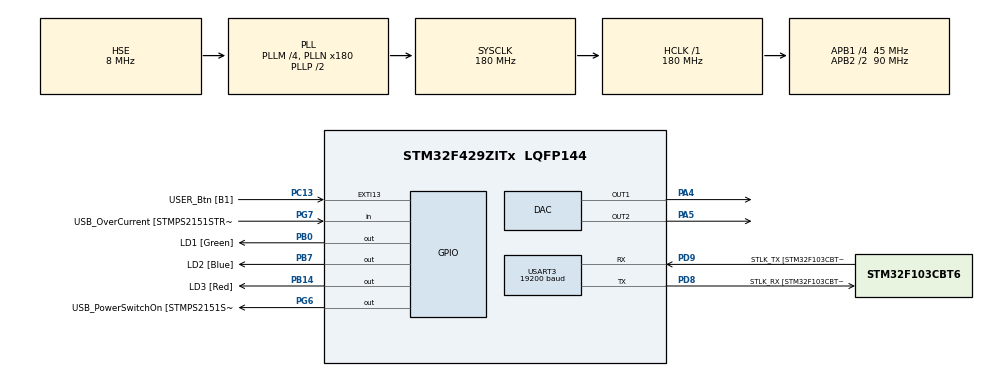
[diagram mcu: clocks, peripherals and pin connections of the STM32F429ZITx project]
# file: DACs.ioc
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DAC.DAC_Trigger=DAC_TRIGGER_T4_TRGO
DAC.DAC_Trigger2=DAC_TRIGGER_T2_TRGO
Dma.DAC1.1.Direction=DMA_MEMORY_TO_PERIPH
Dma.DAC1.1.FIFOMode=DMA_FIFOMODE_DISABLE
Dma.DAC1.1.Instance=DMA1_Stream5
Dma.DAC1.1.MemDataAlignment=DMA_MDATAALIGN_WORD
Dma.DAC1.1.MemInc=DMA_MINC_ENABLE
Dma.DAC1.1.Mode=DMA_CIRCULAR
Dma.DAC1.1.PeriphDataAlignment=DMA_PDATAALIGN_WORD
Dma.DAC1.1.PeriphInc=DMA_PINC_DISABLE
Dma.DAC1.1.Priority=DMA_PRIORITY_VERY_HIGH
Dma.DAC2.0.Direction=DMA_MEMORY_TO_PERIPH
Dma.DAC2.0.FIFOMode=DMA_FIFOMODE_DISABLE
Dma.DAC2.0.Instance=DMA1_Stream6
Dma.DAC2.0.MemDataAlignment=DMA_MDATAALIGN_WORD
Dma.DAC2.0.MemInc=DMA_MINC_ENABLE
Dma.DAC2.0.Mode=DMA_CIRCULAR
Dma.DAC2.0.PeriphDataAlignment=DMA_PDATAALIGN_WORD
Dma.DAC2.0.PeriphInc=DMA_PINC_DISABLE
Dma.DAC2.0.Priority=DMA_PRIORITY_HIGH
Dma.Request0=DAC2
Dma.Request1=DAC1
Mcu.Family=STM32F4
Mcu.Name=STM32F429ZITx
Mcu.Package=LQFP144
NVIC.DMA1_Stream5_IRQn=true\:0\:0\:false\:false\:true\:false\:true\:true
NVIC.DMA1_Stream6_IRQn=true\:0\:0\:false\:false\:true\:false\:true\:true
NVIC.PriorityGroup=NVIC_PRIORITYGROUP_4
PA1.GPIO_Label=RMII_REF_CLK [LAN8742A-CZ-TR_REFCLK0]
PA1.Signal=ETH_REF_CLK
PA10.GPIO_Label=USB_ID
PA10.Signal=USB_OTG_FS_ID
PA11.GPIO_Label=USB_DM
PA11.Signal=USB_OTG_FS_DM
PA12.GPIO_Label=USB_DP
PA12.Signal=USB_OTG_FS_DP
PA13.GPIO_Label=TMS
PA13.Mode=Serial_Wire
PA13.Signal=SYS_JTMS-SWDIO
PA14.GPIO_Label=TCK
PA14.Mode=Serial_Wire
PA14.Signal=SYS_JTCK-SWCLK
PA2.GPIO_Label=RMII_MDIO [LAN8742A-CZ-TR_MDIO]
PA2.Signal=ETH_MDIO
PA4.Signal=COMP_DAC1_group
PA5.Signal=COMP_DAC2_group
PA7.GPIO_Label=RMII_CRS_DV [LAN8742A-CZ-TR_CRS_DV]
PA7.Signal=ETH_CRS_DV
PA8.GPIO_Label=USB_SOF [TP1]
PA8.Signal=USB_OTG_FS_SOF
PA9.GPIO_Label=USB_VBUS
PA9.Signal=USB_OTG_FS_VBUS
PB0.GPIO_Label=LD1 [Green]
PB0.Signal=GPIO_Output
PB13.GPIO_Label=RMII_TXD1 [LAN8742A-CZ-TR_TXD1]
PB13.Signal=ETH_TXD1
PB14.GPIO_Label=LD3 [Red]
PB14.Signal=GPIO_Output
PB7.GPIO_Label=LD2 [Blue]
PB7.Signal=GPIO_Output
PC1.GPIO_Label=RMII_MDC [LAN8742A-CZ-TR_MDC]
PC1.Signal=ETH_MDC
PC13.GPIO_Label=USER_Btn [B1]
PC13.Signal=GPXTI13
PC14/OSC32_IN.Mode=LSE-External-Oscillator
PC14/OSC32_IN.Signal=RCC_OSC32_IN
PC15/OSC32_OUT.Mode=LSE-External-Oscillator
PC15/OSC32_OUT.Signal=RCC_OSC32_OUT
PC4.GPIO_Label=RMII_RXD0 [LAN8742A-CZ-TR_RXD0]
PC4.Signal=ETH_RXD0
PC5.GPIO_Label=RMII_RXD1 [LAN8742A-CZ-TR_RXD1]
PC5.Signal=ETH_RXD1
PD8.GPIO_Label=STLK_RX [STM32F103CBT6_PA3]
PD8.Mode=Asynchronous
PD8.Signal=USART3_TX
PD9.GPIO_Label=STLK_TX [STM32F103CBT6_PA2]
PD9.Mode=Asynchronous
PD9.Signal=USART3_RX
PG11.GPIO_Label=RMII_TX_EN [LAN8742A-CZ-TR_TXEN]
PG11.Signal=ETH_TX_EN
PG13.GPIO_Label=RMII_TXD0 [LAN8742A-CZ-TR_TXD0]
PG13.Signal=ETH_TXD0
PG6.GPIO_Label=USB_PowerSwitchOn [STMPS2151STR_EN]
PG6.Signal=GPIO_Output
PG7.GPIO_Label=USB_OverCurrent [STMPS2151STR_FAULT]
PG7.Signal=GPIO_Input
PH0/OSC_IN.GPIO_Label=MCO [STM32F103CBT6_PA8]
PH0/OSC_IN.Mode=HSE-External-Clock-Source
PH0/OSC_IN.Signal=RCC_OSC_IN
PH1/OSC_OUT.Mode=HSE-External-Clock-Source
PH1/OSC_OUT.Signal=RCC_OSC_OUT
ProjectManager.HeapSize=0x200
ProjectManager.StackSize=0x400
ProjectManager.TargetToolchain=STM32CubeIDE
RCC.48MHZClocksFreq_Value=51428571.428571425
RCC.AHBFreq_Value=180000000
RCC.APB1CLKDivider=RCC_HCLK_DIV4
RCC.APB1Freq_Value=45000000
RCC.APB1TimFreq_Value=90000000
RCC.APB2CLKDivider=RCC_HCLK_DIV2
RCC.APB2Freq_Value=90000000
RCC.APB2TimFreq_Value=180000000
RCC.CortexFreq_Value=180000000
RCC.HCLKFreq_Value=180000000
RCC.HSE_VALUE=8000000
RCC.HSI_VALUE=16000000
RCC.PLLM=4
RCC.PLLMUL=RCC_PLL_MUL9
RCC.PLLN=180
RCC.PLLQ=7
RCC.PLLSourceVirtual=RCC_PLLSOURCE_HSE
RCC.PRESCALERUSB=RCC_USBCLKSOURCE_PLL_DIV1_5
RCC.SYSCLKFreq_VALUE=180000000
RCC.SYSCLKSource=RCC_SYSCLKSOURCE_PLLCLK
RCC.SYSCLKSourceVirtual=RCC_SYSCLKSOURCE_PLLCLK
RCC.USBFreq_Value=48000000
RCC.VCOOutputFreq_Value=360000000
SH.COMP_DAC1_group.0=DAC_OUT1,DAC_OUT1
SH.COMP_DAC2_group.0=DAC_OUT2,DAC_OUT2
TIM2.Period=89
TIM2.TIM_MasterOutputTrigger=TIM_TRGO_UPDATE
TIM2.TIM_MasterSlaveMode=TIM_MASTERSLAVEMODE_ENABLE
TIM4.Period=89
TIM4.Prescaler=1
TIM4.TIM_MasterOutputTrigger=TIM_TRGO_UPDATE
TIM4.TIM_MasterSlaveMode=TIM_MASTERSLAVEMODE_ENABLE
USART3.BaudRate=19200
USART3.VirtualMode=VM_ASYNC
VP_TIM2_VS_ClockSourceINT.Mode=Internal
VP_TIM4_VS_ClockSourceINT.Mode=Internal
board=NUCLEO-F429ZI

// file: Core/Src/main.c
/* USER CODE BEGIN Header */
/**
  ******************************************************************************
  * @file           : main.c
  * @brief          : Main program body
  ******************************************************************************
  * @attention
  *
  * Copyright (c) 2023 STMicroelectronics.
  * All rights reserved.
  *
  * This software is licensed under terms that can be found in the LICENSE file
  * in the root directory of this software component.
  * If no LICENSE file comes with this software, it is provided AS-IS.
  *
  ******************************************************************************
  */
/* USER CODE END Header */
#include "main.h"

/* USER CODE BEGIN Includes */
#include <stdint.h>
#include "API_uart.h"
#include "API_debounce.h"
#include "uHALdac.h"
#include "uSeniales.h"
#include "desarrollo.h"
#include "uGenerador.h"
/*#include "stm32f4xx_hal.h"
#include "stm32f4xx_ll_dac.h"
#include "stm32f4xx_hal_dac.h"*/

/* USER CODE END Includes */

/* USER CODE BEGIN PD */

//#define MUESTRAS1 1000
//#define MUESTRAS2 1100

/* USER CODE END PD */

DAC_HandleTypeDef hdac;
DMA_HandleTypeDef hdma_dac2;
DMA_HandleTypeDef hdma_dac1;

TIM_HandleTypeDef htim2;
TIM_HandleTypeDef htim4;

UART_HandleTypeDef huart3;

/* USER CODE BEGIN PV */
//senial_s SenialDAC1 = {0};
//senial_s SenialDAC2 = {0};
uint32_t Valor_0V [UHAL_DAC_TODOS]  = {2000, 2055};
gen_conf_s GenConfig = {0};
double   Frecuencia = 0;

/* USER CODE END PV */

void SystemClock_Config(void);
static void MX_GPIO_Init(void);
static void MX_DMA_Init(void);
static void MX_USART3_UART_Init(void);
static void MX_DAC_Init(void);
static void MX_TIM2_Init(void);
static void MX_TIM4_Init(void);

int main(void)
{

  /* MCU Configuration--------------------------------------------------------*/

  /* Reset of all peripherals, Initializes the Flash interface and the Systick. */
  HAL_Init();

  /* Configure the system clock */
  SystemClock_Config();

  /* Initialize all configured peripherals */
  MX_GPIO_Init();
  MX_DMA_Init();
  MX_USART3_UART_Init();
  MX_DAC_Init();
  MX_TIM2_Init();
  MX_TIM4_Init();
  /* USER CODE BEGIN 2 */
  // ************************************************************************************

  // Reinicializo UART ------------------------------------------------------------------
  uartInit();			// Esto está duplicado pero no debería molestar.
  	  	  	  	  	  	// Sirve para probar mensaje de inicio.

  uartSendString((uint8_t *) "\n\r\n\r============================================================\n\r");
  uartSendString((uint8_t *) "Ejemplo DAC con salida doble\n\r");
  uartSendString((uint8_t *) "GFC, febrero 2024.\n\r");
  uartSendString((uint8_t *) "============================================================\n\r");
  //uartSendString((uint8_t *) "------------------------------------------------------------\n\r");

  // Inicializo botón de usuario --------------------------------------------------------
  debounceFSM_init();

  // DACs -------------------------------------------------------------------------------
  uGeneradorInicializar ( GENERADORES_TODOS );
  uartSendString((uint8_t *) "SENIAL INICIAL\n\r");
  ImprimirDatos( GENERADOR_1 );
  ImprimirDatos( GENERADOR_2 );
  uGeneradorEncender ( GENERADORES_TODOS );
  uartSendString((uint8_t *) "------------------------------------------------------------\n\r");

  // ------------------------------------------------------------------------------------
  uint8_t SELECTOR = 0;

  // ************************************************************************************
  /* USER CODE END 2 */

  /* Infinite loop */
  /* USER CODE BEGIN WHILE */
  uartSendString((uint8_t *) "Inicio loop... \n\r");
  uartSendString((uint8_t *) "------------------------------------------------------------\n\r");
  //while (1) {}
  while (1)
  {
    /* USER CODE END WHILE */

    /* USER CODE BEGIN 3 */

	debounceFSM_update();

	if (readKeyPush()) {  // Se presionó el botón...

		switch (SELECTOR) {
			case 0:
				// Frecuencia 1 kHz y 2 kHz ---------------------------------------------------------------------------
				Frecuencia = 11000;
				if ( uGeneradorLeerConfiguracion ( GENERADOR_1, &GenConfig )) {
					GenConfig.Frecuencia = Frecuencia;
					GenConfig.Tipo = SENOIDAL;
					GenConfig.Simetria = 0.5;
					if (!uGeneradorConfigurar ( GENERADOR_1, &GenConfig )) uartSendString((uint8_t *) "(Algo no anduvo bien :-(\n\r");
					ImprimirDatos( GENERADOR_1 );
				}
				uartSendString((uint8_t *) "------------------------------------------------------------\n\r");
				break;

			case 1:
				if ( uGeneradorLeerConfiguracion ( GENERADOR_2, &GenConfig )) {
					GenConfig.Frecuencia = Frecuencia*2;
					GenConfig.Tipo = SENOIDAL;
					if (!uGeneradorConfigurar ( GENERADOR_2, &GenConfig )) uartSendString((uint8_t *) "(Algo no anduvo bien :-(\n\r");
					ImprimirDatos( GENERADOR_2 );
				}
				uartSendString((uint8_t *) "------------------------------------------------------------\n\r");
				break;

			case 2:
				// Frecuencia 500 KHz triangular ----------------------------------------------------------------------
				Frecuencia = 5500;
				if ( uGeneradorLeerConfiguracion ( GENERADOR_1, &GenConfig )) {
					GenConfig.Frecuencia = Frecuencia;
					GenConfig.Tipo = TRIANGULAR;
					GenConfig.Simetria = 0.2;
					if (!uGeneradorConfigurar ( GENERADOR_1, &GenConfig )) uartSendString((uint8_t *) "(Algo no anduvo bien :-(\n\r");
					ImprimirDatos( GENERADOR_1 );
				}
				uartSendString((uint8_t *) "------------------------------------------------------------\n\r");
				break;

			case 3:
				if ( uGeneradorLeerConfiguracion ( GENERADOR_2, &GenConfig )) {
					GenConfig.Frecuencia = Frecuencia;
					GenConfig.Tipo = TRIANGULAR;
					if (!uGeneradorConfigurar ( GENERADOR_2, &GenConfig )) uartSendString((uint8_t *) "(Algo no anduvo bien :-(\n\r");
					ImprimirDatos( GENERADOR_2 );
				}
			    uartSendString((uint8_t *) "------------------------------------------------------------\n\r");
			    break;

			case 4:
				// Valor medio ---------------------------------------------------------------------------
			    uartSendString((uint8_t *) "(!) Valor 0 V en salida 1 \n\r");
			    GenConfig.Acople = CERO;
			    //GenConfig.Ciclo = 0.5;
				if (!uGeneradorConfigurar ( GENERADOR_1, &GenConfig )) uartSendString((uint8_t *) "(Algo no anduvo bien :-(\n\r");
			    //uGeneradorConfigurar ( GENERADOR_1, &GenConfig );
			    //ImprimirDatos( GENERADOR_1 );
			    uartSendString((uint8_t *) "------------------------------------------------------------\n\r");
			    break;

			case 5:
				if (!uGeneradorConfigurar ( GENERADOR_2, &GenConfig )) uartSendString((uint8_t *) "(Algo no anduvo bien :-(\n\r");
				uartSendString((uint8_t *) "(!) Valor 0 V en salida 2 \n\r");
				//uGeneradorConfigurar ( GENERADOR_2, &GenConfig );
			    //ImprimirDatos( GENERADOR_2 );
			    uartSendString((uint8_t *) "------------------------------------------------------------\n\r");
			    break;

			case 6:
				// Apagamos
				uGeneradorApagar( GENERADORES_TODOS);
			    uartSendString((uint8_t *) "Apagamos los generadores...\n\r");
				uartSendString((uint8_t *) "------------------------------------------------------------\n\r");
				break;

			case 7:
				// Vuelve acople DC ---------------------------------------------------------------------
				GenConfig.Acople = DC;
				GenConfig.Tipo = CUADRADA;
				GenConfig.Simetria = 0.2;
			    //uGeneradorConfigurar ( GENERADORES_TODOS, &GenConfig );
				if (!uGeneradorConfigurar ( GENERADORES_TODOS, &GenConfig )) uartSendString((uint8_t *) "(Algo no anduvo bien :-(\n\r");
				uGeneradorEncender (GENERADORES_TODOS);
			    ImprimirDatos( GENERADOR_1 );
			    ImprimirDatos( GENERADOR_2 );
			    uartSendString((uint8_t *) "------------------------------------------------------------\n\r");
			    break;

			default:
				uartSendString((uint8_t *) "---ERROR------------------------------------------------------\n\r");
		}

		// Aumento próxima selección
		SELECTOR++;
		if (SELECTOR>7) SELECTOR = 0;
    }

  // Acá podría hacer otras cosas mientras tanto...

  }
  /* USER CODE END 3 */

}

void SystemClock_Config(void)
{
  RCC_OscInitTypeDef RCC_OscInitStruct = {0};
  RCC_ClkInitTypeDef RCC_ClkInitStruct = {0};

  /** Configure the main internal regulator output voltage
  */
  __HAL_RCC_PWR_CLK_ENABLE();
  __HAL_PWR_VOLTAGESCALING_CONFIG(PWR_REGULATOR_VOLTAGE_SCALE1);

  /** Initializes the RCC Oscillators according to the specified parameters
  * in the RCC_OscInitTypeDef structure.
  */
  RCC_OscInitStruct.OscillatorType = RCC_OSCILLATORTYPE_HSE;
  RCC_OscInitStruct.HSEState = RCC_HSE_BYPASS;
  RCC_OscInitStruct.PLL.PLLState = RCC_PLL_ON;
  RCC_OscInitStruct.PLL.PLLSource = RCC_PLLSOURCE_HSE;
  RCC_OscInitStruct.PLL.PLLM = 4;
  RCC_OscInitStruct.PLL.PLLN = 180;
  RCC_OscInitStruct.PLL.PLLP = RCC_PLLP_DIV2;
  RCC_OscInitStruct.PLL.PLLQ = 7;
  if (HAL_RCC_OscConfig(&RCC_OscInitStruct) != HAL_OK)
  {
    Error_Handler();
  }

  /** Activate the Over-Drive mode
  */
  if (HAL_PWREx_EnableOverDrive() != HAL_OK)
  {
    Error_Handler();
  }

  /** Initializes the CPU, AHB and APB buses clocks
  */
  RCC_ClkInitStruct.ClockType = RCC_CLOCKTYPE_HCLK|RCC_CLOCKTYPE_SYSCLK
                              |RCC_CLOCKTYPE_PCLK1|RCC_CLOCKTYPE_PCLK2;
  RCC_ClkInitStruct.SYSCLKSource = RCC_SYSCLKSOURCE_PLLCLK;
  RCC_ClkInitStruct.AHBCLKDivider = RCC_SYSCLK_DIV1;
  RCC_ClkInitStruct.APB1CLKDivider = RCC_HCLK_DIV4;
  RCC_ClkInitStruct.APB2CLKDivider = RCC_HCLK_DIV2;

  if (HAL_RCC_ClockConfig(&RCC_ClkInitStruct, FLASH_LATENCY_5) != HAL_OK)
  {
    Error_Handler();
  }
}

static void MX_DAC_Init(void)
{

  DAC_ChannelConfTypeDef sConfig = {0};

  /** DAC Initialization
  */
  hdac.Instance = DAC;
  if (HAL_DAC_Init(&hdac) != HAL_OK)
  {
    Error_Handler();
  }

  /** DAC channel OUT1 config
  */
  sConfig.DAC_Trigger = DAC_TRIGGER_T4_TRGO;
  sConfig.DAC_OutputBuffer = DAC_OUTPUTBUFFER_ENABLE;
  if (HAL_DAC_ConfigChannel(&hdac, &sConfig, DAC_CHANNEL_1) != HAL_OK)
  {
    Error_Handler();
  }

  /** DAC channel OUT2 config
  */
  sConfig.DAC_Trigger = DAC_TRIGGER_T2_TRGO;
  if (HAL_DAC_ConfigChannel(&hdac, &sConfig, DAC_CHANNEL_2) != HAL_OK)
  {
    Error_Handler();
  }

}

static void MX_TIM2_Init(void)
{

  TIM_ClockConfigTypeDef sClockSourceConfig = {0};
  TIM_MasterConfigTypeDef sMasterConfig = {0};

  htim2.Instance = TIM2;
  htim2.Init.Prescaler = 0;
  htim2.Init.CounterMode = TIM_COUNTERMODE_UP;
  htim2.Init.Period = 89;
  htim2.Init.ClockDivision = TIM_CLOCKDIVISION_DIV1;
  htim2.Init.AutoReloadPreload = TIM_AUTORELOAD_PRELOAD_DISABLE;
  if (HAL_TIM_Base_Init(&htim2) != HAL_OK)
  {
    Error_Handler();
  }
  sClockSourceConfig.ClockSource = TIM_CLOCKSOURCE_INTERNAL;
  if (HAL_TIM_ConfigClockSource(&htim2, &sClockSourceConfig) != HAL_OK)
  {
    Error_Handler();
  }
  sMasterConfig.MasterOutputTrigger = TIM_TRGO_UPDATE;
  sMasterConfig.MasterSlaveMode = TIM_MASTERSLAVEMODE_ENABLE;
  if (HAL_TIMEx_MasterConfigSynchronization(&htim2, &sMasterConfig) != HAL_OK)
  {
    Error_Handler();
  }

}

static void MX_TIM4_Init(void)
{

  TIM_ClockConfigTypeDef sClockSourceConfig = {0};
  TIM_MasterConfigTypeDef sMasterConfig = {0};

  htim4.Instance = TIM4;
  htim4.Init.Prescaler = 1;
  htim4.Init.CounterMode = TIM_COUNTERMODE_UP;
  htim4.Init.Period = 89;
  htim4.Init.ClockDivision = TIM_CLOCKDIVISION_DIV1;
  htim4.Init.AutoReloadPreload = TIM_AUTORELOAD_PRELOAD_DISABLE;
  if (HAL_TIM_Base_Init(&htim4) != HAL_OK)
  {
    Error_Handler();
  }
  sClockSourceConfig.ClockSource = TIM_CLOCKSOURCE_INTERNAL;
  if (HAL_TIM_ConfigClockSource(&htim4, &sClockSourceConfig) != HAL_OK)
  {
    Error_Handler();
  }
  sMasterConfig.MasterOutputTrigger = TIM_TRGO_UPDATE;
  sMasterConfig.MasterSlaveMode = TIM_MASTERSLAVEMODE_ENABLE;
  if (HAL_TIMEx_MasterConfigSynchronization(&htim4, &sMasterConfig) != HAL_OK)
  {
    Error_Handler();
  }

}

static void MX_USART3_UART_Init(void)
{

  huart3.Instance = USART3;
  huart3.Init.BaudRate = 19200;
  huart3.Init.WordLength = UART_WORDLENGTH_8B;
  huart3.Init.StopBits = UART_STOPBITS_1;
  huart3.Init.Parity = UART_PARITY_NONE;
  huart3.Init.Mode = UART_MODE_TX_RX;
  huart3.Init.HwFlowCtl = UART_HWCONTROL_NONE;
  huart3.Init.OverSampling = UART_OVERSAMPLING_16;
  if (HAL_UART_Init(&huart3) != HAL_OK)
  {
    Error_Handler();
  }

}

static void MX_DMA_Init(void)
{

  /* DMA controller clock enable */
  __HAL_RCC_DMA1_CLK_ENABLE();

  /* DMA interrupt init */
  /* DMA1_Stream5_IRQn interrupt configuration */
  HAL_NVIC_SetPriority(DMA1_Stream5_IRQn, 0, 0);
  HAL_NVIC_EnableIRQ(DMA1_Stream5_IRQn);
  /* DMA1_Stream6_IRQn interrupt configuration */
  HAL_NVIC_SetPriority(DMA1_Stream6_IRQn, 0, 0);
  HAL_NVIC_EnableIRQ(DMA1_Stream6_IRQn);

}

static void MX_GPIO_Init(void)
{
  GPIO_InitTypeDef GPIO_InitStruct = {0};

  /* GPIO Ports Clock Enable */
  __HAL_RCC_GPIOC_CLK_ENABLE();
  __HAL_RCC_GPIOH_CLK_ENABLE();
  __HAL_RCC_GPIOA_CLK_ENABLE();
  __HAL_RCC_GPIOB_CLK_ENABLE();
  __HAL_RCC_GPIOD_CLK_ENABLE();
  __HAL_RCC_GPIOG_CLK_ENABLE();

  /*Configure GPIO pin Output Level */
  HAL_GPIO_WritePin(GPIOB, LD1_Pin|LD3_Pin|LD2_Pin, GPIO_PIN_RESET);

  /*Configure GPIO pin Output Level */
  HAL_GPIO_WritePin(USB_PowerSwitchOn_GPIO_Port, USB_PowerSwitchOn_Pin, GPIO_PIN_RESET);

  /*Configure GPIO pin : USER_Btn_Pin */
  GPIO_InitStruct.Pin = USER_Btn_Pin;
  GPIO_InitStruct.Mode = GPIO_MODE_IT_RISING;
  GPIO_InitStruct.Pull = GPIO_NOPULL;
  HAL_GPIO_Init(USER_Btn_GPIO_Port, &GPIO_InitStruct);

  /*Configure GPIO pins : RMII_MDC_Pin RMII_RXD0_Pin RMII_RXD1_Pin */
  GPIO_InitStruct.Pin = RMII_MDC_Pin|RMII_RXD0_Pin|RMII_RXD1_Pin;
  GPIO_InitStruct.Mode = GPIO_MODE_AF_PP;
  GPIO_InitStruct.Pull = GPIO_NOPULL;
  GPIO_InitStruct.Speed = GPIO_SPEED_FREQ_VERY_HIGH;
  GPIO_InitStruct.Alternate = GPIO_AF11_ETH;
  HAL_GPIO_Init(GPIOC, &GPIO_InitStruct);

  /*Configure GPIO pins : RMII_REF_CLK_Pin RMII_MDIO_Pin RMII_CRS_DV_Pin */
  GPIO_InitStruct.Pin = RMII_REF_CLK_Pin|RMII_MDIO_Pin|RMII_CRS_DV_Pin;
  GPIO_InitStruct.Mode = GPIO_MODE_AF_PP;
  GPIO_InitStruct.Pull = GPIO_NOPULL;
  GPIO_InitStruct.Speed = GPIO_SPEED_FREQ_VERY_HIGH;
  GPIO_InitStruct.Alternate = GPIO_AF11_ETH;
  HAL_GPIO_Init(GPIOA, &GPIO_InitStruct);

  /*Configure GPIO pins : LD1_Pin LD3_Pin LD2_Pin */
  GPIO_InitStruct.Pin = LD1_Pin|LD3_Pin|LD2_Pin;
  GPIO_InitStruct.Mode = GPIO_MODE_OUTPUT_PP;
  GPIO_InitStruct.Pull = GPIO_NOPULL;
  GPIO_InitStruct.Speed = GPIO_SPEED_FREQ_LOW;
  HAL_GPIO_Init(GPIOB, &GPIO_InitStruct);

  /*Configure GPIO pin : RMII_TXD1_Pin */
  GPIO_InitStruct.Pin = RMII_TXD1_Pin;
  GPIO_InitStruct.Mode = GPIO_MODE_AF_PP;
  GPIO_InitStruct.Pull = GPIO_NOPULL;
  GPIO_InitStruct.Speed = GPIO_SPEED_FREQ_VERY_HIGH;
  GPIO_InitStruct.Alternate = GPIO_AF11_ETH;
  HAL_GPIO_Init(RMII_TXD1_GPIO_Port, &GPIO_InitStruct);

  /*Configure GPIO pin : USB_PowerSwitchOn_Pin */
  GPIO_InitStruct.Pin = USB_PowerSwitchOn_Pin;
  GPIO_InitStruct.Mode = GPIO_MODE_OUTPUT_PP;
  GPIO_InitStruct.Pull = GPIO_NOPULL;
  GPIO_InitStruct.Speed = GPIO_SPEED_FREQ_LOW;
  HAL_GPIO_Init(USB_PowerSwitchOn_GPIO_Port, &GPIO_InitStruct);

  /*Configure GPIO pin : USB_OverCurrent_Pin */
  GPIO_InitStruct.Pin = USB_OverCurrent_Pin;
  GPIO_InitStruct.Mode = GPIO_MODE_INPUT;
  GPIO_InitStruct.Pull = GPIO_NOPULL;
  HAL_GPIO_Init(USB_OverCurrent_GPIO_Port, &GPIO_InitStruct);

  /*Configure GPIO pins : USB_SOF_Pin USB_ID_Pin USB_DM_Pin USB_DP_Pin */
  GPIO_InitStruct.Pin = USB_SOF_Pin|USB_ID_Pin|USB_DM_Pin|USB_DP_Pin;
  GPIO_InitStruct.Mode = GPIO_MODE_AF_PP;
  GPIO_InitStruct.Pull = GPIO_NOPULL;
  GPIO_InitStruct.Speed = GPIO_SPEED_FREQ_VERY_HIGH;
  GPIO_InitStruct.Alternate = GPIO_AF10_OTG_FS;
  HAL_GPIO_Init(GPIOA, &GPIO_InitStruct);

  /*Configure GPIO pin : USB_VBUS_Pin */
  GPIO_InitStruct.Pin = USB_VBUS_Pin;
  GPIO_InitStruct.Mode = GPIO_MODE_INPUT;
  GPIO_InitStruct.Pull = GPIO_NOPULL;
  HAL_GPIO_Init(USB_VBUS_GPIO_Port, &GPIO_InitStruct);

  /*Configure GPIO pins : RMII_TX_EN_Pin RMII_TXD0_Pin */
  GPIO_InitStruct.Pin = RMII_TX_EN_Pin|RMII_TXD0_Pin;
  GPIO_InitStruct.Mode = GPIO_MODE_AF_PP;
  GPIO_InitStruct.Pull = GPIO_NOPULL;
  GPIO_InitStruct.Speed = GPIO_SPEED_FREQ_VERY_HIGH;
  GPIO_InitStruct.Alternate = GPIO_AF11_ETH;
  HAL_GPIO_Init(GPIOG, &GPIO_InitStruct);

}

void Error_Handler(void)
{
  /* USER CODE BEGIN Error_Handler_Debug */
  /* User can add his own implementation to report the HAL error return state */
  BSP_LED_Init(LED3);
  __disable_irq();
  BSP_LED_Off(LED1);
  BSP_LED_Off(LED2);
  BSP_LED_Off(LED3);
  while (1)
  {
	  BSP_LED_Toggle(LED3);
	  HAL_Delay(250);
  }
  /* USER CODE END Error_Handler_Debug */
}
